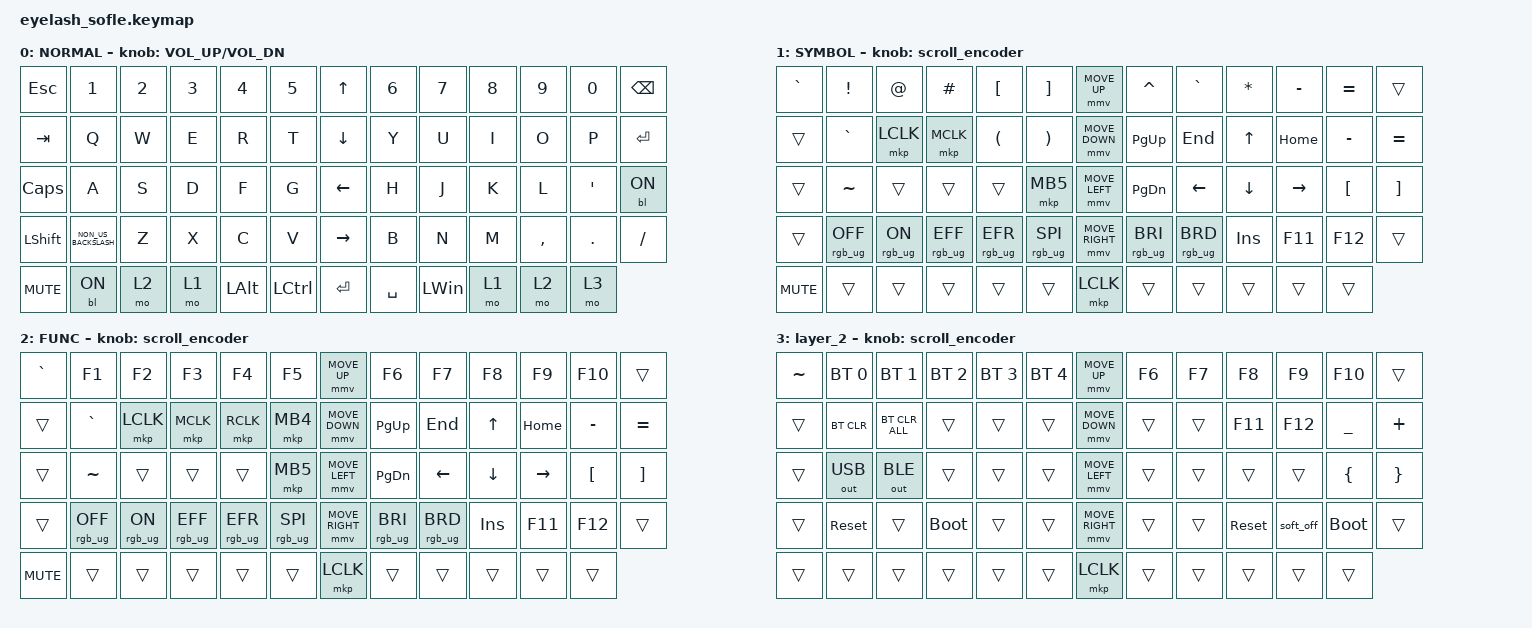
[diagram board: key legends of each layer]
#define ZMK_POINTING_DEFAULT_MOVE_VAL 1200  // 600
#define ZMK_POINTING_DEFAULT_SCRL_VAL 35    // 10

#include <input/processors.dtsi>
#include <zephyr/dt-bindings/input/input-event-codes.h>
#include <behaviors.dtsi>
#include <dt-bindings/zmk/backlight.h>
#include <dt-bindings/zmk/bt.h>
#include <dt-bindings/zmk/keys.h>
#include <dt-bindings/zmk/outputs.h>
#include <dt-bindings/zmk/pointing.h>
#include <dt-bindings/zmk/rgb.h>

/ {
    zip_scroll_scaler: zip_scroll_scaler {
        compatible = "zmk,input-processor-scaler";
        #input-processor-cells = <2>;
        type = <INPUT_EV_REL>;
        codes = <INPUT_REL_WHEEL INPUT_REL_HWHEEL>;
        track-remainders;
    };
};

&mmv_input_listener { input-processors = <&zip_xy_scaler 2 1>; };

&msc_input_listener { input-processors = <&zip_scroll_scaler 2 1>; };

&msc {
    acceleration-exponent = <0>;      // 0
    time-to-max-speed-ms = <0>;       // 300
    delay-ms = <0>;                   // 0
};

&mmv {
    time-to-max-speed-ms = <400>;
    acceleration-exponent = <1>;
};

/ {
    scroll_encoder: scroll_encoder {
        compatible = "zmk,behavior-sensor-rotate";
        #sensor-binding-cells = <0>;
        bindings = <&msc SCRL_DOWN>, <&msc SCRL_UP>;

        tap-ms = <30>;
    };

    behaviors {
    };

    keymap {
        compatible = "zmk,keymap";

        NORMAL {
            bindings = <
&kp ESC     &kp N1                &kp N2  &kp N3  &kp N4    &kp N5       &kp UP_ARROW     &kp N6     &kp N7        &kp N8  &kp N9     &kp N0      &kp BACKSPACE
&kp TAB     &kp Q                 &kp W   &kp E   &kp R     &kp T        &kp DOWN_ARROW   &kp Y      &kp U         &kp I   &kp O      &kp P       &kp ENTER
&kp CAPS    &kp A                 &kp S   &kp D   &kp F     &kp G        &kp LEFT_ARROW   &kp H      &kp J         &kp K   &kp L      &kp SQT     &bl BL_ON
&kp LSHFT   &kp NON_US_BACKSLASH  &kp Z   &kp X   &kp C     &kp V        &kp RIGHT_ARROW  &kp B      &kp N         &kp M   &kp COMMA  &kp PERIOD  &kp SLASH
&kp C_MUTE  &bl BL_ON             &mo 2   &mo 1   &kp LALT  &kp LCTRL    &kp ENTER        &kp SPACE  &kp LEFT_WIN  &mo 1   &mo 2      &mo 3
            >;

            sensor-bindings = <&inc_dec_kp C_VOLUME_UP C_VOL_DN>;
            display-name = "NORMAL";
        };

        SYMBOLS {
            bindings = <
&kp GRAVE   &kp EXCLAMATION  &kp AT_SIGN     &kp HASH         &kp LEFT_BRACKET      &kp RIGHT_BRACKET        &mmv MOVE_UP     &kp CARET        &kp GRAVE        &kp ASTERISK  &kp MINUS  &kp EQUAL         &trans
&trans      &kp GRAVE        &mkp LCLK       &mkp MCLK        &kp LEFT_PARENTHESIS  &kp RIGHT_PARENTHESIS    &mmv MOVE_DOWN   &kp PG_UP        &kp END          &kp UP        &kp HOME   &kp MINUS         &kp EQUAL
&trans      &kp TILDE        &trans          &trans           &trans                &mkp MB5                 &mmv MOVE_LEFT   &kp PG_DN        &kp LEFT         &kp DOWN      &kp RIGHT  &kp LEFT_BRACKET  &kp RIGHT_BRACKET
&trans      &rgb_ug RGB_OFF  &rgb_ug RGB_ON  &rgb_ug RGB_EFF  &rgb_ug RGB_EFR       &rgb_ug RGB_SPI          &mmv MOVE_RIGHT  &rgb_ug RGB_BRI  &rgb_ug RGB_BRD  &kp INSERT    &kp F11    &kp F12           &trans
&kp C_MUTE  &trans           &trans          &trans           &trans                &trans                   &mkp LCLK        &trans           &trans           &trans        &trans     &trans
            >;

            display-name = "SYMBOL";
            sensor-bindings = <&scroll_encoder>;
        };

        FUNCTIONS {
            display-name = "FUNC";
            bindings = <
&kp GRAVE   &kp F1           &kp F2          &kp F3           &kp F4           &kp F5             &mmv MOVE_UP     &kp F6           &kp F7           &kp F8      &kp F9     &kp F10           &trans
&trans      &kp GRAVE        &mkp LCLK       &mkp MCLK        &mkp RCLK        &mkp MB4           &mmv MOVE_DOWN   &kp PG_UP        &kp END          &kp UP      &kp HOME   &kp MINUS         &kp EQUAL
&trans      &kp TILDE        &trans          &trans           &trans           &mkp MB5           &mmv MOVE_LEFT   &kp PG_DN        &kp LEFT         &kp DOWN    &kp RIGHT  &kp LEFT_BRACKET  &kp RIGHT_BRACKET
&trans      &rgb_ug RGB_OFF  &rgb_ug RGB_ON  &rgb_ug RGB_EFF  &rgb_ug RGB_EFR  &rgb_ug RGB_SPI    &mmv MOVE_RIGHT  &rgb_ug RGB_BRI  &rgb_ug RGB_BRD  &kp INSERT  &kp F11    &kp F12           &trans
&kp C_MUTE  &trans           &trans          &trans           &trans           &trans             &mkp LCLK        &trans           &trans           &trans      &trans     &trans
            >;

            sensor-bindings = <&scroll_encoder>;
        };

        layer_2 {
            bindings = <
&kp TILDE  &bt BT_SEL 0  &bt BT_SEL 1    &bt BT_SEL 2  &bt BT_SEL 3  &bt BT_SEL 4    &mmv MOVE_UP     &kp F6  &kp F7  &kp F8      &kp F9     &kp F10      &trans
&trans     &bt BT_CLR    &bt BT_CLR_ALL  &trans        &trans        &trans          &mmv MOVE_DOWN   &trans  &trans  &kp F11     &kp F12    &kp UNDER    &kp PLUS
&trans     &out OUT_USB  &out OUT_BLE    &trans        &trans        &trans          &mmv MOVE_LEFT   &trans  &trans  &trans      &trans     &kp LBRC     &kp RBRC
&trans     &sys_reset    &trans          &bootloader   &trans        &trans          &mmv MOVE_RIGHT  &trans  &trans  &sys_reset  &soft_off  &bootloader  &trans
&trans     &trans        &trans          &trans        &trans        &trans          &mkp LCLK        &trans  &trans  &trans      &trans     &trans
            >;

            sensor-bindings = <&scroll_encoder>;
        };
    };
};
